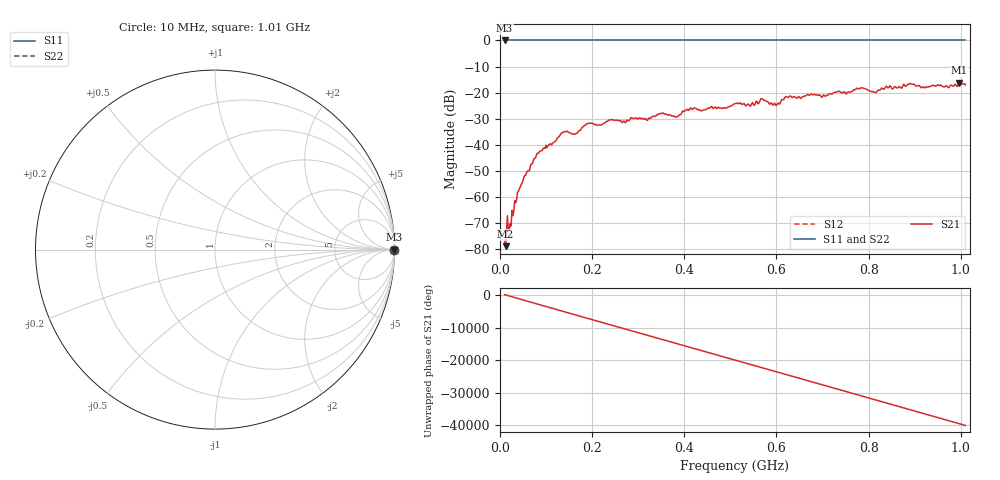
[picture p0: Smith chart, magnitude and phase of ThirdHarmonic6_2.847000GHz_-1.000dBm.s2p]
! 8/17/2025 7:41:05 AM
! C:\ANRITSUVNA\TEMP\TEMP.S2P
! CHANNEL.1
! TR.MEASUREMENT
! RAW.DATA
! RF.CORRECTION.OFF
! AVERAGING.OFF
! IF.BANDWIDTH: 5KHZ
! SWEEPTYPE:  FREQ.SWEEP(Linear)
! Reference Plane Port Info
! PORT:  PORT1  PORT2
! DISTANCE:  0  m  0  m
! TIME:  0  s  0  s
! PHASE.OFFSET:  0  deg.  0  deg.
! LOSS:  0  dB  0  dB
! REF.LOSS:  0  dB  0  dB
! REF.FREQ:  0  Hz  0  Hz
! Power Info
! POWER:  -20  dBm  -20  dBm
! EFF.POWER:  -20  dBm  -20  dBm
! SOURCE.ATTEN:  0  dB  0  dB
! TEST.ATTEN:  0  dB  0  dB
# GHZ S RI R 50.0
! FREQ.GHZ  S11RE  S11IM  S21RE  S21IM  S12RE  S12IM  S22RE  S22IM
!; PortSelection: Port_12
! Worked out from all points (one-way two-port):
!   501 points, 10 MHz to 1.01 GHz, reference 50 ohm
!   highest |S21| = -16.20 dB at 996 MHz (marker M1); lowest = -79.0 dB at 12 MHz (marker M2)
!   lowest |S11| = 0.0 dB at 10 MHz (marker M3)
!   |S11| at or under -10 dB: nowhere
!   |S22| runs from 0.0 to 0.0 dB; largest |S21 - S12| = 1.1
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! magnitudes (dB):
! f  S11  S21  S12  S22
! 10 MHz  0.0  -76.7  0.0  0.0
! 12 MHz  0.0  -79.0  0.0  0.0
! 24 MHz  0.0  -71.3  0.0  0.0
! 42 MHz  0.0  -56.9  0.0  0.0
! 78 MHz  0.0  -44.6  0.0  0.0
! 136 MHz  0.0  -35.4  0.0  0.0
! 164 MHz  0.0  -35.9  0.0  0.0
! 178 MHz  0.0  -33.4  0.0  0.0
! 344 MHz  0.0  -28.5  0.0  0.0
! 382 MHz  0.0  -29.3  0.0  0.0
! 410 MHz  0.0  -26.8  0.0  0.0
! 510 MHz  0.0  -24.3  0.0  0.0
! 540 MHz  0.0  -24.6  0.0  0.0
! 570 MHz  0.0  -22.6  0.0  0.0
! 596 MHz  0.0  -24.1  0.0  0.0
! 622 MHz  0.0  -21.6  0.0  0.0
! 678 MHz  0.0  -20.8  0.0  0.0
! 786 MHz  0.0  -18.2  0.0  0.0
! 814 MHz  0.0  -19.9  0.0  0.0
! 844 MHz  0.0  -18.0  0.0  0.0
! 996 MHz  0.0  -16.2  0.0  0.0
! 1.01 GHz  0.0  -17.1  0.0  0.0
